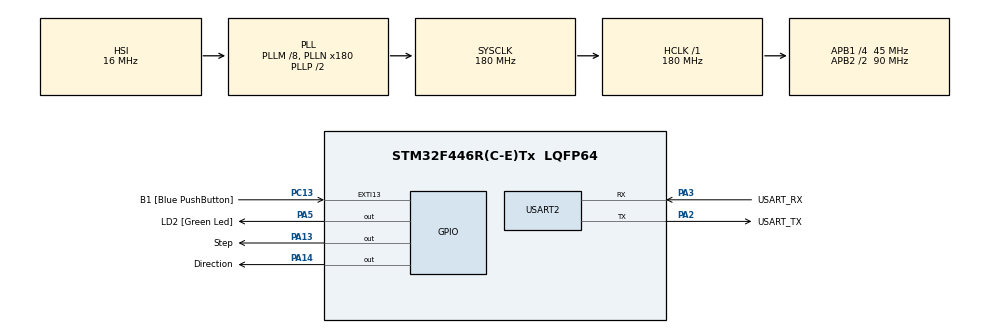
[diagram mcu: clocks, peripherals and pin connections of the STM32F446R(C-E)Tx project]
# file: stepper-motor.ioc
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Mcu.Family=STM32F4
Mcu.Name=STM32F446R(C-E)Tx
Mcu.Package=LQFP64
NVIC.PriorityGroup=NVIC_PRIORITYGROUP_0
PA13.GPIO_Label=Step
PA13.Signal=GPIO_Output
PA14.GPIO_Label=Direction
PA14.Signal=GPIO_Output
PA2.GPIO_Label=USART_TX
PA2.Mode=Asynchronous
PA2.Signal=USART2_TX
PA3.GPIO_Label=USART_RX
PA3.Mode=Asynchronous
PA3.Signal=USART2_RX
PA5.GPIO_Label=LD2 [Green Led]
PA5.Signal=GPIO_Output
PB3.GPIO_Label=SWO
PB3.Signal=SYS_JTDO-SWO
PC13.GPIO_Label=B1 [Blue PushButton]
PC13.GPIO_ModeDefaultEXTI=GPIO_MODE_IT_FALLING
PC13.Signal=GPXTI13
PC14-OSC32_IN.Signal=RCC_OSC32_IN
PC15-OSC32_OUT.Signal=RCC_OSC32_OUT
PH0-OSC_IN.Mode=HSE-External-Oscillator
PH0-OSC_IN.Signal=RCC_OSC_IN
PH1-OSC_OUT.Mode=HSE-External-Oscillator
PH1-OSC_OUT.Signal=RCC_OSC_OUT
ProjectManager.HeapSize=0x200
ProjectManager.StackSize=0x400
ProjectManager.TargetToolchain=STM32CubeIDE
RCC.48MHZClocksFreq_Value=84000000
RCC.AHBFreq_Value=180000000
RCC.APB1CLKDivider=RCC_HCLK_DIV4
RCC.APB1Freq_Value=45000000
RCC.APB1TimFreq_Value=90000000
RCC.APB2CLKDivider=RCC_HCLK_DIV2
RCC.APB2Freq_Value=90000000
RCC.APB2TimFreq_Value=180000000
RCC.CortexFreq_Value=180000000
RCC.FLatency-AdvancedSettings=FLASH_LATENCY_5
RCC.HCLKFreq_Value=180000000
RCC.HSE_VALUE=8000000
RCC.HSI_VALUE=16000000
RCC.PLLM=8
RCC.PLLN=180
RCC.SYSCLKFreq_VALUE=180000000
RCC.SYSCLKSource=RCC_SYSCLKSOURCE_PLLCLK
RCC.USBFreq_Value=180000000
RCC.VCOOutputFreq_Value=360000000
USART2.VirtualMode=VM_ASYNC
board=NUCLEO-F446RE

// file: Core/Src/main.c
/* USER CODE BEGIN Header */
/**
  ******************************************************************************
  * @file           : main.c
  * @brief          : Main program body
  ******************************************************************************
  * @attention
  *
  * Copyright (c) 2022 STMicroelectronics.
  * All rights reserved.
  *
  * This software is licensed under terms that can be found in the LICENSE file
  * in the root directory of this software component.
  * If no LICENSE file comes with this software, it is provided AS-IS.
  *
  ******************************************************************************
  */
/* USER CODE END Header */
#include "main.h"

/* USER CODE BEGIN Includes */
#include <stdio.h>
/* USER CODE END Includes */

 UART_HandleTypeDef huart2;

/* USER CODE BEGIN PV */
#ifdef __GNUC__
#define PUTCHAR_PROTOTYPE int __io_putchar(int ch)
#else
#define PUTCHAR_PROTOTYPE int fputc(int ch, FILE *f)
#endif /* __GNUC__ */
PUTCHAR_PROTOTYPE
{
	while (HAL_UART_Transmit(&huart2, (uint8_t *)&ch, 1, 10) != HAL_OK) {};
	return ch;
}

#ifdef __GNUC__
#define GETCHAR_PROTOTYPE int __io_getchar (void)
#else
#define GETCHAR_PROTOTYPE int fgetc(FILE * f)
#endif /* __GNUC__ */
GETCHAR_PROTOTYPE
{
	uint8_t ch = 0;
	// Clear the Overrun flag just before receiving the first character
	__HAL_UART_CLEAR_OREFLAG(&huart2);
	HAL_UART_Receive(&huart2, (uint8_t *)&ch, 1, 0xFFFF);
	while (HAL_UART_Transmit(&huart2, (uint8_t *)&ch, 1, 10) != HAL_OK) {};
	return ch;
}
/* USER CODE END PV */

void SystemClock_Config(void);
static void MX_GPIO_Init(void);
static void MX_USART2_UART_Init(void);

/* USER CODE BEGIN 0 */
static void servoOneStep()
{
  HAL_GPIO_WritePin(Step_GPIO_Port, Step_Pin, GPIO_PIN_SET);
  HAL_Delay(1);
  HAL_GPIO_WritePin(Step_GPIO_Port, Step_Pin, GPIO_PIN_RESET);
  HAL_Delay(1);
}

static void servoSetClockwiseDirection()
{
	HAL_GPIO_WritePin(Direction_GPIO_Port, Direction_Pin, GPIO_PIN_RESET);
}

static void servoSetCounterClockwiseDirection()
{
	HAL_GPIO_WritePin(Direction_GPIO_Port, Direction_Pin, GPIO_PIN_SET);
}

static void servoReverseDirection()
{
	HAL_GPIO_TogglePin(Direction_GPIO_Port, Direction_Pin);
}
/* USER CODE END 0 */

int main(void)
{

  /* MCU Configuration--------------------------------------------------------*/

  /* Reset of all peripherals, Initializes the Flash interface and the Systick. */
  HAL_Init();

  /* Configure the system clock */
  SystemClock_Config();

  /* Initialize all configured peripherals */
  MX_GPIO_Init();
  MX_USART2_UART_Init();

  /* Infinite loop */
  /* USER CODE BEGIN WHILE */
  uint16_t i = 0;
  while (1)
  {
	  printf("Test\r\n");

	  for (i = 0; i < 25; i++)
	  {
		 servoOneStep();
		 HAL_Delay(50);
	  }
	  HAL_Delay(50);
	  servoReverseDirection();
    /* USER CODE END WHILE */

  }
}

void SystemClock_Config(void)
{
  RCC_OscInitTypeDef RCC_OscInitStruct = {0};
  RCC_ClkInitTypeDef RCC_ClkInitStruct = {0};

  /** Configure the main internal regulator output voltage
  */
  __HAL_RCC_PWR_CLK_ENABLE();
  __HAL_PWR_VOLTAGESCALING_CONFIG(PWR_REGULATOR_VOLTAGE_SCALE1);

  /** Initializes the RCC Oscillators according to the specified parameters
  * in the RCC_OscInitTypeDef structure.
  */
  RCC_OscInitStruct.OscillatorType = RCC_OSCILLATORTYPE_HSI;
  RCC_OscInitStruct.HSIState = RCC_HSI_ON;
  RCC_OscInitStruct.HSICalibrationValue = RCC_HSICALIBRATION_DEFAULT;
  RCC_OscInitStruct.PLL.PLLState = RCC_PLL_ON;
  RCC_OscInitStruct.PLL.PLLSource = RCC_PLLSOURCE_HSI;
  RCC_OscInitStruct.PLL.PLLM = 8;
  RCC_OscInitStruct.PLL.PLLN = 180;
  RCC_OscInitStruct.PLL.PLLP = RCC_PLLP_DIV2;
  RCC_OscInitStruct.PLL.PLLQ = 2;
  RCC_OscInitStruct.PLL.PLLR = 2;
  if (HAL_RCC_OscConfig(&RCC_OscInitStruct) != HAL_OK)
  {
    Error_Handler();
  }

  /** Activate the Over-Drive mode
  */
  if (HAL_PWREx_EnableOverDrive() != HAL_OK)
  {
    Error_Handler();
  }

  /** Initializes the CPU, AHB and APB buses clocks
  */
  RCC_ClkInitStruct.ClockType = RCC_CLOCKTYPE_HCLK|RCC_CLOCKTYPE_SYSCLK
                              |RCC_CLOCKTYPE_PCLK1|RCC_CLOCKTYPE_PCLK2;
  RCC_ClkInitStruct.SYSCLKSource = RCC_SYSCLKSOURCE_PLLCLK;
  RCC_ClkInitStruct.AHBCLKDivider = RCC_SYSCLK_DIV1;
  RCC_ClkInitStruct.APB1CLKDivider = RCC_HCLK_DIV4;
  RCC_ClkInitStruct.APB2CLKDivider = RCC_HCLK_DIV2;

  if (HAL_RCC_ClockConfig(&RCC_ClkInitStruct, FLASH_LATENCY_5) != HAL_OK)
  {
    Error_Handler();
  }
}

static void MX_USART2_UART_Init(void)
{

  huart2.Instance = USART2;
  huart2.Init.BaudRate = 115200;
  huart2.Init.WordLength = UART_WORDLENGTH_8B;
  huart2.Init.StopBits = UART_STOPBITS_1;
  huart2.Init.Parity = UART_PARITY_NONE;
  huart2.Init.Mode = UART_MODE_TX_RX;
  huart2.Init.HwFlowCtl = UART_HWCONTROL_NONE;
  huart2.Init.OverSampling = UART_OVERSAMPLING_16;
  if (HAL_UART_Init(&huart2) != HAL_OK)
  {
    Error_Handler();
  }

}

static void MX_GPIO_Init(void)
{
  GPIO_InitTypeDef GPIO_InitStruct = {0};

  /* GPIO Ports Clock Enable */
  __HAL_RCC_GPIOC_CLK_ENABLE();
  __HAL_RCC_GPIOH_CLK_ENABLE();
  __HAL_RCC_GPIOA_CLK_ENABLE();
  __HAL_RCC_GPIOB_CLK_ENABLE();

  /*Configure GPIO pin Output Level */
  HAL_GPIO_WritePin(GPIOA, LD2_Pin|Step_Pin|Direction_Pin, GPIO_PIN_RESET);

  /*Configure GPIO pin : B1_Pin */
  GPIO_InitStruct.Pin = B1_Pin;
  GPIO_InitStruct.Mode = GPIO_MODE_IT_FALLING;
  GPIO_InitStruct.Pull = GPIO_NOPULL;
  HAL_GPIO_Init(B1_GPIO_Port, &GPIO_InitStruct);

  /*Configure GPIO pins : LD2_Pin Step_Pin Direction_Pin */
  GPIO_InitStruct.Pin = LD2_Pin|Step_Pin|Direction_Pin;
  GPIO_InitStruct.Mode = GPIO_MODE_OUTPUT_PP;
  GPIO_InitStruct.Pull = GPIO_NOPULL;
  GPIO_InitStruct.Speed = GPIO_SPEED_FREQ_LOW;
  HAL_GPIO_Init(GPIOA, &GPIO_InitStruct);

}

void Error_Handler(void)
{
  __disable_irq();
  while (1)
  {
  }
}
